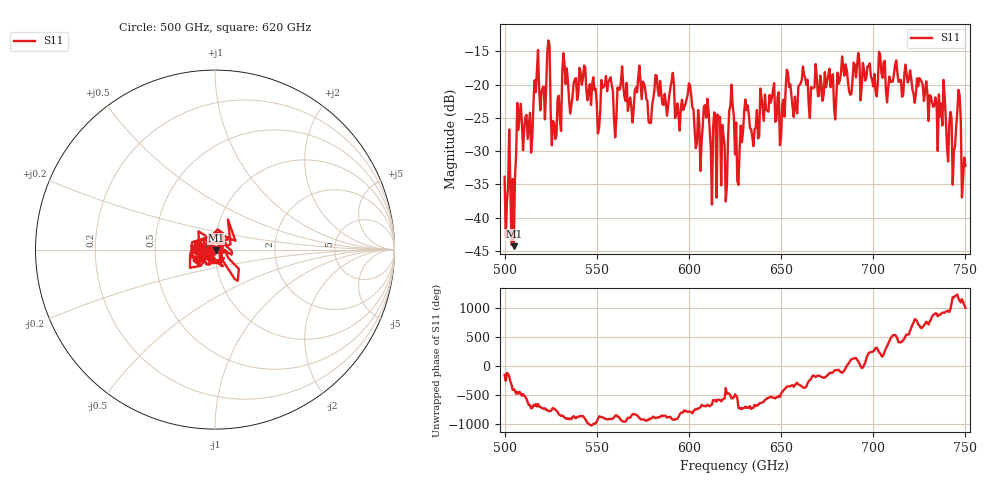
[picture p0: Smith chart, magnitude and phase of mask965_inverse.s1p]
!Created with skrf (http://scikit-rf.org).
# GHz S MA R 50.0
!freq magS11 angS11
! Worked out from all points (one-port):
!   401 points, 500 GHz to 750 GHz, reference 50 ohm
!   lowest |S11| = -44.3 dB at 505 GHz (marker M1), VSWR 1.01, Z = 50.5 - j0.366 ohm
!   |S11| at or under -10 dB: start of sweep to end of sweep
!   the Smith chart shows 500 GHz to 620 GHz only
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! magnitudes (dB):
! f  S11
! 500 GHz  -33.9
! 505 GHz  -44.3
! 508.1 GHz  -24.8
! 513.8 GHz  -24.2
! 516.9 GHz  -21.1
! 520.6 GHz  -20.4
! 523.8 GHz  -13.3
! 526.9 GHz  -25.7
! 531.2 GHz  -18.4
! 542.5 GHz  -19.0
! 550.6 GHz  -27.4
! 562.5 GHz  -20.7
! 578.8 GHz  -25.8
! 590.6 GHz  -19.4
! 593.8 GHz  -22.8
! 600 GHz  -19.8
! 605 GHz  -23.8
! 609.4 GHz  -25.0
! 620 GHz  -37.6
! 623.1 GHz  -20.0
! 625 GHz  -30.5
! 656.2 GHz  -23.4
! 687.5 GHz  -21.5
! 718.8 GHz  -19.7
! 738.1 GHz  -19.3
! 743.8 GHz  -30.1
! 746.2 GHz  -20.8
! 750 GHz  -32.2
